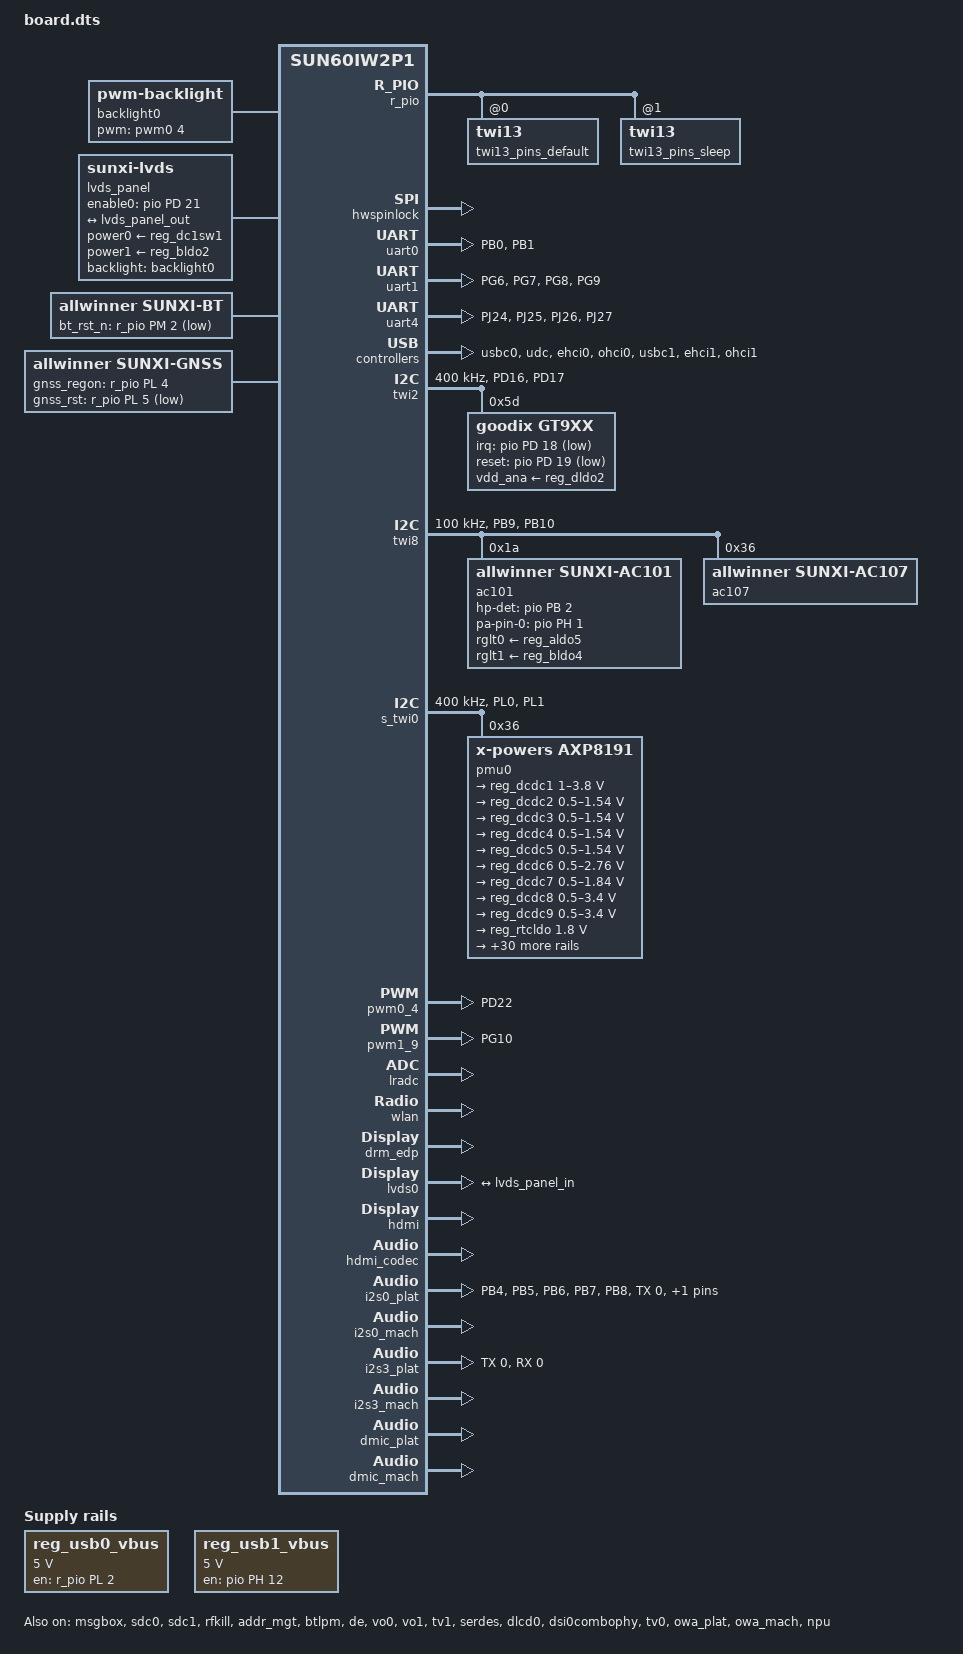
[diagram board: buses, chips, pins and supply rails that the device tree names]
// SPDX-License-Identifier: (GPL-2.0+ or MIT)

/dts-v1/;

#include "sun60iw2p1.dtsi"

/{
	board = "A733", "A733-EVB-QA";
	compatible = "allwinner,a733", "arm,sun60iw2p1";
	aliases {
		standby_param = &standby_param;
		arisc-config = &arisc_config;
		pmu0 = &pmu0;
	};

	standby_param: standby_param {
		vcc-io  = <0x00000000400>;
		vcc-efuse = <0x0000e000000>;
		vdd-cpub = <0x00000004>;
		vdd-cpu = <0x000000010>;
		vdd-sys = <0x00000002>;
		vcc-pll = <0x00001000000>;
		osc24m-on = <0>;
	};

	arisc_config: arisc_config {
		s_uart_config{
			pins = "PL2", "PL3";
			function = <3>, <3>;
			status = "disabled";
		};
	};

	reg_usb0_vbus: usb0-vbus {
		compatible = "regulator-fixed";
		regulator-name = "usb0-vbus";
		regulator-min-microvolt = <5000000>;
		regulator-max-microvolt = <5000000>;
		regulator-enable-ramp-delay = <1000>;
		gpio = <&r_pio PL 2 GPIO_ACTIVE_HIGH>;
		enable-active-high;
	};

	reg_usb1_vbus: usb1-vbus {
		compatible = "regulator-fixed";
		regulator-name = "usb1-vbus";
		regulator-min-microvolt = <5000000>;
		regulator-max-microvolt = <5000000>;
		regulator-enable-ramp-delay = <1000>;
		gpio = <&pio PH 12 GPIO_ACTIVE_HIGH>;
		enable-active-high;
	};

	backlight0: backlight0 {
		compatible = "pwm-backlight";
		status = "okay";
		brightness-levels = <
			  0   1   2   3   4   5   6   7
			  8   9  10  11  12  13  14  15
			 16  17  18  19  20  21  22  23
			 24  25  26  27  28  29  30  31
			 32  33  34  35  36  37  38  39
			 40  41  42  43  44  45  46  47
			 48  49  50  51  52  53  54  55
			 56  57  58  59  60  61  62  63
			 64  65  66  67  68  69  70  71
			 72  73  74  75  76  77  78  79
			 80  81  82  83  84  85  86  87
			 88  89  90  91  92  93  94  95
			 96  97  98  99 100 101 102 103
			104 105 106 107 108 109 110 111
			112 113 114 115 116 117 118 119
			120 121 122 123 124 125 126 127
			128 129 130 131 132 133 134 135
			136 137 138 139 140 141 142 143
			144 145 146 147 148 149 150 151
			152 153 154 155 156 157 158 159
			160 161 162 163 164 165 166 167
			168 169 170 171 172 173 174 175
			176 177 178 179 180 181 182 183
			184 185 186 187 188 189 190 191
			192 193 194 195 196 197 198 199
			200 201 202 203 204 205 206 207
			208 209 210 211 212 213 214 215
			216 217 218 219 220 221 222 223
			224 225 226 227 228 229 230 231
			232 233 234 235 236 237 238 239
			240 241 242 243 244 245 246 247
			248 249 250 251 252 253 254 255>;
		default-brightness-level = <73>;
		pwms = <&pwm0 4 25000 0>;
	};

	lvds_panel: lvds_panel@0 {
		compatible = "sunxi-lvds";
		status = "okay";
		power-delay-ms = <10>;
		power0-supply = <&reg_dc1sw1>;
		power1-supply = <&reg_bldo2>;
		backlight = <&backlight0>;
		bus-format = <MEDIA_BUS_FMT_RGB888_1X7X4_SPWG>;
		enable0-gpios = <&pio PD 21 GPIO_ACTIVE_HIGH>;
		display-timings {
			native-mode = <&lvds0_timing0>;
			lvds0_timing0: timing0 {
				clock-frequency = <74871600>;
				hback-porch = <70>;
				hactive = <1280>;
				hfront-porch = <83>;
				hsync-len = <18>;
				vback-porch = <13>;
				vactive = <800>;
				vfront-porch = <37>;
				vsync-len = <10>;
			};
		};
		port {
			lvds_panel_in: endpoint {
				remote-endpoint = <&lvds_panel_out>;
			};
		};
	};
};

&ccu {
	clk-init-gate = <1>;
};

&pio {
	uart0_pins_active: uart0_pins@0 {
		pins = "PB0", "PB1";
		function = "uart0";
		drive-strength = <10>;
	};

	uart0_pins_sleep: uart0_pins@1 {
		pins = "PB0", "PB1";
		function = "gpio_in";
		drive-strength = <10>;
	};

	uart1_pins_active: uart1_pins@0 {
		pins = "PG6", "PG7", "PG8", "PG9";
		function = "uart1";
		drive-strength = <10>;
	};

	uart1_pins_sleep: uart1_pins@1 {
		pins = "PG6", "PG7", "PG8", "PG9";
		function = "io_disabled";
		drive-strength = <10>;
	};

	uart2_pins_active: uart2_pins@0 {
		pins = "PB0", "PB1", "PB2", "PB3";
		function = "uart2";
		drive-strength = <10>;
	};

	uart2_pins_sleep: uart2_pins@1 {
		pins = "PB0", "PB1", "PB2", "PB3";
		function = "io_disabled";
		drive-strength = <10>;
	};

	uart3_pins_active: uart3_pins@0 {
		pins = "PH4", "PH5", "PH6", "PH7";
		function = "uart3";
		drive-strength = <10>;
	};

	uart3_pins_sleep: uart3_pins@1 {
		pins = "PH4", "PH5", "PH6", "PH7";
		function = "io_disabled";
		drive-strength = <10>;
	};

	uart4_pins_active: uart4_pins@0 {
		pins = "PJ24", "PJ25", "PJ26", "PJ27";
		function = "uart4";
		drive-strength = <10>;
	};

	uart4_pins_sleep: uart4_pins@1 {
		pins = "PJ24", "PJ25", "PJ26", "PJ27";
		function = "io_disabled";
		drive-strength = <10>;
	};

	uart5_pins_active: uart5_pins@0 {
		pins = "PH13", "PH14", "PH15", "PH16";
		function = "uart5";
		drive-strength = <10>;
	};

	uart5_pins_sleep: uart5_pins@1 {
		pins = "PH13", "PH14", "PH15", "PH16";
		function = "io_disabled";
		drive-strength = <10>;
	};

	uart6_pins_active: uart6_pins@0 {
		pins = "PK0", "PK1", "PK2", "PK3";
		function = "uart6";
		drive-strength = <10>;
	};

	uart6_pins_sleep: uart6_pins@1 {
		pins = "PK0", "PK1", "PK2", "PK3";
		function = "io_disabled";
		drive-strength = <10>;
	};

	uart7_pins_active: uart7_pins@0 {
		pins = "PL10", "PL11";
		function = "uart7";
		drive-strength = <10>;
	};

	uart7_pins_sleep: uart7_pins@1 {
		pins = "PL10", "PL11";
		function = "io_disabled";
		drive-strength = <10>;
	};

	uart8_pins_active: uart8_pins@0 {
		pins = "PL2", "PL3";
		function = "uart8";
		drive-strength = <10>;
	};

	uart8_pins_sleep: uart8_pins@1 {
		pins = "PL2", "PL3";
		function = "io_disabled";
		drive-strength = <10>;
	};

	twi0_pins_default: twi0@0 {
		pins = "PH0", "PH1";
		function = "twi0";
		drive-strength = <10>;
		bias-pull-up;
	};

	twi0_pins_sleep: twi0@1 {
		pins = "PH0", "PH1";
		function = "gpio_in";
	};

	twi1_pins_default: twi1@0 {
		pins = "PH2", "PH3";
		function = "twi1";
		drive-strength = <10>;
		bias-pull-up;
	};

	twi1_pins_sleep: twi1@1 {
		pins = "PH2", "PH3";
		function = "gpio_in";
	};

	twi2_pins_default: twi2@0 {
		pins = "PD16", "PD17";
		function = "twi2";
		drive-strength = <10>;
		bias-pull-up;
	};

	twi2_pins_sleep: twi2@1 {
		pins = "PD16", "PD17";
		function = "gpio_in";
	};

	twi8_pins_default: twi8@0 {
		pins = "PB9", "PB10";
		function = "twi8";
		drive-strength = <10>;
		bias-pull-up;
	};

	twi8_pins_sleep: twi8@1 {
		pins = "PB9", "PB10";
		function = "gpio_in";
	};

	pwm0_4_pins_active: pwm0@0 {
		pins = "PD22";
		function = "pwm0_4";
	};

	pwm0_4_pins_sleep: pwm0@1 {
		pins = "PD22";
		function = "gpio_in";
		bias-pull-down;
	};

	pwm1_9_pins_active: pwm1@0 {
		pins = "PG10";
		function = "pwm1_9";
	};

	pwm1_9_pins_sleep: pwm1@1 {
		pins = "PG10";
		function = "gpio_in";
		bias-pull-down;
	};

	gmac0_pins_default: gmac0@0 {
		pins = "PH0", "PH1", "PH2", "PH3",
			"PH4", "PH5", "PH6", "PH7",
			"PH8", "PH9", "PH10", "PH11",
			"PH12","PH13", "PH14", "PH15";
		function = "rgmii0";
		drive-strength = <40>;
		bias-pull-up;
	};

	gmac0_pins_sleep: gmac0@1 {
		pins = "PH0", "PH1", "PH2", "PH3",
			"PH4", "PH5", "PH6", "PH7",
			"PH8", "PH9", "PH10", "PH11",
			"PH12","PH13", "PH14", "PH15";
		function = "io_disabled";
	};

	/* i2s0 pins */
	i2s0_pins_a: i2s0@0 {
		pins = "PB4";
		function = "i2s0_mclk";
		drive-strength = <10>;
		bias-disable;
	};

	i2s0_pins_b: i2s0@1 {
		pins = "PB5";
		function = "i2s0_bclk";
		drive-strength = <10>;
		bias-disable;
	};

	i2s0_pins_c: i2s0@2 {
		pins = "PB6";
		function = "i2s0_lrck";
		drive-strength = <10>;
		bias-disable;
	};

	i2s0_pins_d: i2s0@3 {
		pins = "PB7";
		function = "i2s0_dout0";
		drive-strength = <10>;
		bias-disable;
	};

	i2s0_pins_e: i2s0@4 {
		pins = "PB8";
		function = "i2s0_din0";
		drive-strength = <10>;
		bias-disable;
	};

	i2s0_pins_f: i2s0@5 {
		pins = "PB4", "PB5", "PB6", "PB7", "PB8";
		function = "io_disabled";
		drive-strength = <10>;
		bias-disable;
	};

	owa_pins_a: owa@0 {
		pins = "PB7", "PB8";
		function = "owa";
		drive-strength = <10>;
		bias-disable;
	};

	owa_pins_b: owa@1 {
		pins = "PB7", "PB8";
		function = "io_disabled";
		drive-strength = <10>;
		bias-disable;
	};

	dmic_pins_a: dmic@0 {
		pins = "PH8", "PH9", "PH10", "PH11", "PH12";
		function = "dmic";
		drive-strength = <10>;
		bias-disable;
	};

	dmic_pins_b: dmic@1 {
		pins = "PH8", "PH9", "PH10", "PH11", "PH12";
		function = "io_disabled";
		drive-strength = <10>;
		bias-disable;
	};

	spi0_pins_default: spi0@0 {
		pins = "PC12", "PC2", "PC4"; /* clk, mosi, miso */
		function = "spi0";
		drive-strength = <10>;
	};

	spi0_pins_cs: spi0@1 {
		pins = "PC3", "PC15", "PC16"; /* cs, hold, wp */
		function = "spi0";
		drive-strength = <10>;
		bias-pull-up;
	};

	spi0_pins_sleep: spi0@2 {
		pins = "PC12", "PC2", "PC4", "PC3", "PC15", "PC16";
		function = "io_disabled";
	};
};

&r_pio {
	twi13_pins_default: twi13@0 {
		pins = "PL0", "PL1";
		function = "s_twi0";
		drive-strength = <10>;
		bias-pull-up;
	};

	twi13_pins_sleep: twi13@1 {
		pins = "PL0", "PL1";
		function = "gpio_in";
	};
};

&soc {
	auto_print@54321 {
		reg = <0x0 0x54321 0x0 0x0>;
		device_type = "auto_print";
		status = "okay";
	};
	hall_para {
		hall_name = "MH248";
		status = "disabled";
		hall_int_port = <&r_pio PL 6 GPIO_ACTIVE_LOW>;
		wakeup-source;
	};

	motor_para {
		compatible = "allwinner,sunxi-vibrator";
		motor_used = <1>;
		motor_shake = <0>;
		status = "disabled";
		motor-supply = <&reg_dldo5>;
		motor_ldo_voltage = <3300>;
	};

};

&msgbox {
	status = "okay";
};

&hwspinlock {
	status = "okay";
};

&uart0 {
	pinctrl-names = "default", "sleep";
	pinctrl-0 = <&uart0_pins_active>;
	pinctrl-1 = <&uart0_pins_sleep>;
	status = "okay";
};

&uart1 {
	pinctrl-names = "default", "sleep";
	pinctrl-0 = <&uart1_pins_active>;
	pinctrl-1 = <&uart1_pins_sleep>;
	status = "okay";
};

&uart2 {
	pinctrl-names = "default", "sleep";
	pinctrl-0 = <&uart2_pins_active>;
	pinctrl-1 = <&uart2_pins_sleep>;
	status = "disabled";
};

&uart3 {
	pinctrl-names = "default", "sleep";
	pinctrl-0 = <&uart3_pins_active>;
	pinctrl-1 = <&uart3_pins_sleep>;
	status = "disabled";
};

&uart4 {
	pinctrl-names = "default", "sleep";
	pinctrl-0 = <&uart4_pins_active>;
	pinctrl-1 = <&uart4_pins_sleep>;
	status = "okay";
};

&uart5 {
	pinctrl-names = "default", "sleep";
	pinctrl-0 = <&uart5_pins_active>;
	pinctrl-1 = <&uart5_pins_sleep>;
	status = "disabled";
};

&uart6 {
	pinctrl-names = "default", "sleep";
	pinctrl-0 = <&uart6_pins_active>;
	pinctrl-1 = <&uart6_pins_sleep>;
	status = "disabled";
};

&uart7 {
	pinctrl-names = "default", "sleep";
	pinctrl-0 = <&uart7_pins_active>;
	pinctrl-1 = <&uart7_pins_sleep>;
	status = "disabled";
};

&uart8 {
	pinctrl-names = "default", "sleep";
	pinctrl-0 = <&uart8_pins_active>;
	pinctrl-1 = <&uart8_pins_sleep>;
	status = "disabled";
};

&sdc2 {
	non-removable;
	bus-width = <8>;
	mmc-ddr-1_8v;
	mmc-hs200-1_8v;
	mmc-hs400-1_8v;
	no-sdio;
	no-sd;
	ctl-spec-caps = <0x328>;
	cap-mmc-highspeed;
	sunxi-power-save-mode;
	sunxi-dis-signal-vol-sw;
	mmc-bootpart-noacc;
	/*cap-hsq;*/
	cqe-on;
	ctl-cmdq-md = <0x2>;
	max-frequency = <200000000>;
	/*vmmc-supply = <&reg_cldo3>;*/
	/*emmc io vol 3.3v*/
	/*vqmmc-supply = <&reg_aldo1>;*/
	/*emmc io vol 1.8v*/
	/*vqmmc-supply = <&reg_cldo1>;*/
	status = "disabled";
};

&sdc0 {
	bus-width = <4>;
	cd-gpios = <&pio PF 6 (GPIO_ACTIVE_LOW | GPIO_PULL_UP)>;
	/*non-removable;*/
	/*broken-cd;*/
	/*cd-inverted*/
	/*data3-detect;*/
	/*card-pwr-gpios = <&pio PH 14 1 1 2 0xffffffff>;*/
	cd-used-24M;
	cd-set-debounce = <0x1>;
	cap-sd-highspeed;
	sd-uhs-sdr50;
	sd-uhs-ddr50;
	sd-uhs-sdr104;
	no-sdio;
	no-mmc;
	sunxi-power-save-mode;
	/*sunxi-dis-signal-vol-sw;*/
	max-frequency = <150000000>;
	ctl-spec-caps = <0x428>;
	/*vmmc-supply = <&reg_cldo3>;*/
	/*vqmmc33sw-supply = <&reg_cldo3>;*/
	/*vdmmc33sw-supply = <&reg_cldo3>;*/
	/*vqmmc18sw-supply = <&reg_cldo1>;*/
	/*vdmmc18sw-supply = <&reg_cldo1>;*/
	status = "okay";
};

&sdc1 {
	bus-width = <4>;
	no-mmc;
	no-sd;
	cap-sd-highspeed;
	/*sd-uhs-sdr12*/
	sd-uhs-sdr25;
	sd-uhs-sdr50;
	sd-uhs-ddr50;
	sd-uhs-sdr104;
	/*sunxi-power-save-mode;*/
	sunxi-dis-signal-vol-sw;
	cap-sdio-irq;
	keep-power-in-suspend;
	ignore-pm-notify;
	/*
	 * For AIC Wi-Fi SDIO3.0,
	 * when max-frequency = <208000000>, set sunxi-dly-208M = <0 0 0 0 0 0>
	 * when max-frequency = <150000000>, set sunxi-dly-208M = <1 1 0 0 1 1>
	 */
	max-frequency = <208000000>;
	sunxi-dly-208M  = <0 0 0 0 0 0>;
	ctl-spec-caps = <0x428>;
	status = "okay";
};

/*
 * usb_port_type: usb mode. 0-device, 1-host, 2-otg.
 * usb_detect_type: usb hotplug detect mode. 0-none, 1-vbus/id detect, 2-pmu detect, 3-tcpm detect.
 * usb_detect_mode: 0-thread scan, 1-id gpio interrupt, 2-pmu notify.
 * usb_id_gpio: gpio for id detect.
 * usb_det_vbus_gpio: gpio for id detect. gpio or "axp_ctrl".
 * usb_wakeup_suspend：0-SUPER_STANDBY, 1-USB_STANDBY.
 */
&usbc0 {
	device_type = "usbc0";
	usb_port_type = <0x2>;
	usb_detect_type = <0x1>;
	usb_detect_mode = <0x0>;
	usb_id_gpio = <&r_pio PL 3 GPIO_ACTIVE_HIGH>;
	enable-active-high;
	usb_det_vbus_gpio = <&r_pio PL 13 GPIO_ACTIVE_HIGH>;
	enable-active-high;
	usb_regulator_io = "nocare";
	usb_wakeup_suspend = <0>;
	usb_luns = <3>;
	usb_serial_unique = <0>;
	usb_serial_number = "20080411";
	rndis_wceis = <1>;
	status = "okay";
};

&udc {
	phy_range = <0x188>;
	status = "okay";
};

&ehci0 {
	phy_range = <0x188>;
	drvvbus-supply = <&reg_usb0_vbus>;
	status = "okay";
};

&ohci0 {
	phy_range = <0x188>;
	drvvbus-supply = <&reg_usb0_vbus>;
	status = "okay";
};

&usbc1 {
	device_type = "usbc1";
	usb_regulator_io = "nocare";
	usb_wakeup_suspend = <0>;
	status = "okay";
};

&ehci1 {
	phy_range = <0x188>;
	drvvbus-supply = <&reg_usb1_vbus>;
	status = "okay";
};

&ohci1 {
	phy_range = <0x188>;
	drvvbus-supply = <&reg_usb1_vbus>;
	status = "okay";
};

&twi0 {
	clock-frequency = <400000>;
	pinctrl-0 = <&twi0_pins_default>;
	pinctrl-1 = <&twi0_pins_sleep>;
	pinctrl-names = "default", "sleep";
	/* For stability and backwards compatibility, we recommend setting ‘twi_drv_used’ to 1 */
	twi_drv_used = <1>;
	//twi-supply = <&reg_dcdc1>;
	status = "disabled";
};

&twi1 {
	clock-frequency = <400000>;
	pinctrl-0 = <&twi1_pins_default>;
	pinctrl-1 = <&twi1_pins_sleep>;
	pinctrl-names = "default", "sleep";
	/* For stability and backwards compatibility, we recommend setting ‘twi_drv_used’ to 1 */
	twi_drv_used = <1>;
	//twi-supply = <&reg_dcdc1>;
	status = "disabled";
};

&twi2 {
	clock-frequency = <400000>;
	pinctrl-0 = <&twi2_pins_default>;
	pinctrl-1 = <&twi2_pins_sleep>;
	pinctrl-names = "default", "sleep";
	/* For stability and backwards compatibility, we recommend setting ‘twi_drv_used’ to 1 */
	twi_drv_used = <1>;
	twi-supply = <&reg_bldo2>;
	status = "okay";

	gt9xx {
		compatible = "goodix,gt9xx";
		reg = <0x5d>;
		status = "okay";
		irq-gpios = <&pio PD 18 GPIO_ACTIVE_LOW>;
		irq-flags = <2>;
		reset-gpios = <&pio PD 19 GPIO_ACTIVE_LOW>;
		vdd_ana-supply = <&reg_dldo2>;

		touchscreen-max-id = <11>;
		touchscreen-size-x = <1280>;
		touchscreen-size-y = <800>;
		touchscreen-max-w = <512>;
		touchscreen-max-p = <512>;
		//touchscreen-key-map = <172>, <158>; /*KEY_HOMEPAGE=172, KEY_BACK=158，KEY_MENU=139*/
		goodix,slide-wakeup = <0>;
		goodix,type-a-report = <1>;
		goodix,driver-send-cfg = <0>;
		goodix,send-cfg-id = <0>;
		goodix,resume-in-workqueue = <0>;
		goodix,int-sync = <1>;
		goodix,revert_x = <0>;
		goodix,revert_y = <0>;
		goodix,swap-x2y = <1>;
		goodix,tp_idle_support = <1>;
		goodix,esd-protect = <1>;
		goodix,auto-update-cfg = <0>;
		goodix,power-off-sleep = <1>;
		goodix,pen-suppress-finger = <0>;
		/* GT9271_Config_20221222_v67.cfg*/
		goodix,cfg-group0 = [
			B4 00 05 20 03 0A 3D 00 01 0A
			28 0F 50 32 03 05 00 00 00 00
			00 00 06 17 19 1F 14 8E 2E 99
			2D 2F 35 11 00 00 00 1A 03 10
			00 00 00 00 00 00 00 00 00 00
			00 32 50 94 D5 02 07 00 00 04
			8E 48 00 8A 4D 00 86 53 00 83
			59 00 80 60 00 80 00 00 00 00
			00 00 00 00 00 00 00 00 00 00
			00 00 00 00 00 00 00 00 00 00
			00 00 00 00 00 00 00 00 00 00
			00 00 00 01 04 05 06 07 08 09
			0C 0D 0E 0F 10 11 14 15 16 17
			FF FF FF FF FF FF FF FF FF FF
			FF FF 28 27 26 25 24 23 22 21
			20 1F 1E 1C 1B 19 13 12 11 10
			0F 0D 0C 0A 08 07 06 04 02 00
			FF FF FF FF FF FF FF FF FF FF
			FF FF FF FF AB 01
		];
	};
};

&twi8 {
	clock-frequency = <100000>;
	pinctrl-0 = <&twi8_pins_default>;
	pinctrl-1 = <&twi8_pins_sleep>;
	pinctrl-names = "default", "sleep";
	/* For stability and backwards compatibility, we recommend setting ‘twi_drv_used’ to 1 */
	twi_drv_used = <1>;
	twi-supply = <&reg_dc1sw2>;
	status = "okay";

	ac101: ac101@1a {
		#sound-dai-cells		= <0>;
		compatible			= "allwinner,sunxi-ac101";
		reg				= <0x1a>;
		pllclk-src			= "MCLK";
		sysclk-src			= "MCLK";
		pcm-bit-first			= "MSB";
		frame-sync-width		= <1>;

		hp-det-gpio			= <&pio PB 2 GPIO_ACTIVE_HIGH>;
		jack-det-threshold		= <1>;
		jack-key-det-threshold		= <4 10>;
		jack-det-debouce-time		= <0>;
		jack-key-det-debouce-time	= <0>;

		/* jack-key-det-voltage = <min max> */
		jack-key-det-voltage-hook	= <23 24>;
		jack-key-det-voltage-up		= <21 22>;
		jack-key-det-voltage-down	= <19 20>;
		jack-key-det-voltage-voice	= <1 1>;

		/* rglt */
		rglt-max        = <2>;
		rglt0-mode      = "PMU";
		rglt0-voltage   = <3300000>;
		rglt0-supply    = <&reg_aldo5>;

		rglt1-mode      = "PMU";
		rglt1-voltage   = <1800000>;
		rglt1-supply    = <&reg_bldo4>;

		/* pa */
		pa-pin-max	= <1>;
		pa-pin-0	= <&pio PH 1 GPIO_ACTIVE_HIGH>;
		pa-pin-level-0	= <1>;
		pa-pin-msleep-0 = <0>;

		status                  = "okay";
	};

	ac107: ac107@36 {
		#sound-dai-cells        = <0>;
		compatible              = "allwinner,sunxi-ac107";
		reg                     = <0x36>;
		pllclk-src              = "MCLK";
		sysclk-src              = "MCLK";
		pcm-bit-first           = "MSB";
		frame-sync-width        = <1>;
		tx-pin-chmap0           = <0x10101010>;
		tx-pin-chmap1           = <0x10101010>;
		ch1-dig-vol             = <160>;
		ch2-dig-vol             = <160>;
		ch1-pga-gain            = <26>;
		ch2-pga-gain            = <26>;
		codec-id		= <1>;
		status                  = "okay";
	};
};

&s_twi0 {
	clock-frequency = <400000>;
	pinctrl-0 = <&twi13_pins_default>;
	pinctrl-1 = <&twi13_pins_sleep>;
	pinctrl-names = "default", "sleep";
	/* For stability and backwards compatibility, we recommend setting ‘twi_drv_used’ to 1 */
	twi_drv_used = <1>;
	//twi-supply = <&reg_aldo1>;
	no_suspend = <1>;
	status = "okay";

	pmu1: pmu@34 {
		compatible = "x-powers,axp515";
		reg = <0x34>;
		status = "disabled";
		//interrupts = <0 IRQ_TYPE_LEVEL_LOW>;
		//interrupt-parent = <&nmi_intc>;
		x-powers,drive-vbus-en;
		pmu_irq_wakeup = <1>;
		pmu_hot_shutdown = <1>;

		//wakeup-source;

		powerkey0: powerkey@0 {
			status = "disabled";
			compatible = "x-powers,axp515-pek";
			pmu_powkey_off_time = <6000>;
			pmu_powkey_off_func = <0>;
			pmu_powkey_off_en = <1>;
			pmu_powkey_long_time = <1500>;
			pmu_powkey_on_time = <512>;
			wakeup_rising;
			wakeup_falling;
		};

		usb_power_supply: usb_power_supply {
			compatible = "x-powers,axp515-usb-power-supply";
			status = "disabled";

			pmu_usbpc_vol = <4600>;
			pmu_usbpc_cur = <500>;
			pmu_usbad_vol = <4000>;
			pmu_usbad_cur = <2500>;
			pmu_usb_typec_used = <1>;
			wakeup_usb_in;
			wakeup_usb_out;
			wakeup_typec_in;
			wakeup_typec_out;
		};

		bat_power_supply: bat-power-supply {
			compatible = "x-powers,axp515-bat-power-supply";
			status = "disabled";
			pmu_chg_ic_temp = <0>;

			pmu_battery_rdc= <170>;
			pmu_battery_cap = <5000>;
			pmu_runtime_chgcur = <1000>;
			pmu_suspend_chgcur = <1500>;
			pmu_shutdown_chgcur = <1500>;
			pmu_init_chgvol = <4350>;
			pmu_battery_warning_level1 = <15>;
			pmu_battery_warning_level2 = <0>;
			pmu_chgled_func = <0>;
			pmu_chgled_type = <0>;
			pmu_bat_para1 = <0>;
			pmu_bat_para2 = <0>;
			pmu_bat_para3 = <0>;
			pmu_bat_para4 = <0>;
			pmu_bat_para5 = <0>;
			pmu_bat_para6 = <0>;
			pmu_bat_para7 = <2>;
			pmu_bat_para8 = <3>;
			pmu_bat_para9 = <4>;
			pmu_bat_para10 = <6>;
			pmu_bat_para11 = <9>;
			pmu_bat_para12 = <14>;
			pmu_bat_para13 = <26>;
			pmu_bat_para14 = <38>;
			pmu_bat_para15 = <49>;
			pmu_bat_para16 = <52>;
			pmu_bat_para17 = <56>;
			pmu_bat_para18 = <60>;
			pmu_bat_para19 = <64>;
			pmu_bat_para20 = <70>;
			pmu_bat_para21 = <77>;
			pmu_bat_para22 = <83>;
			pmu_bat_para23 = <87>;
			pmu_bat_para24 = <90>;
			pmu_bat_para25 = <95>;
			pmu_bat_para26 = <99>;
			pmu_bat_para27 = <99>;
			pmu_bat_para28 = <100>;
			pmu_bat_para29 = <100>;
			pmu_bat_para30 = <100>;
			pmu_bat_para31 = <100>;
			pmu_bat_para32 = <100>;

			pmu_bat_temp_enable = <0>;
			pmu_jetia_en        = <0>;
			pmu_bat_charge_ltf = <1695>; //-5
			pmu_bat_charge_htf = <151>; //60
			pmu_bat_shutdown_ltf = <2125>; //-10
			pmu_bat_shutdown_htf = <131>; //65
			pmu_jetia_cool = <1361>; //0
			pmu_jetia_warm = <208>; //50
			pmu_jcool_ifall = <1>;//50%
			pmu_jwarm_ifall = <1>;//50%
			pmu_bat_temp_para1 = <4378>; //Murata -25
			pmu_bat_temp_para2 = <2682>; //-15
			pmu_bat_temp_para3 = <2125>; //-10
			pmu_bat_temp_para4 = <1695>; //-5
			pmu_bat_temp_para5 = <1361>;//0
			pmu_bat_temp_para6 = <1101>; //5
			pmu_bat_temp_para7 = <896>; //10
			pmu_bat_temp_para8 = <604>; //20
			pmu_bat_temp_para9 = <416>; //30
			pmu_bat_temp_para10 = <292>; //40
			pmu_bat_temp_para11 = <246>; //45
			pmu_bat_temp_para12 = <208>; //50
			pmu_bat_temp_para13 = <177>; //55
			pmu_bat_temp_para14 = <151>; //60
			pmu_bat_temp_para15 = <111>; //70
			pmu_bat_temp_para16 = <83>; //80

			wakeup_bat_out;
			wakeup_new_soc;
			/* wakeup_bat_in; */
			/* wakeup_bat_charging; */
			/* wakeup_bat_charge_over; */
			/* wakeup_low_warning1; */
			/* wakeup_low_warning2; */
			wakeup_bat_untemp_work;
			wakeup_bat_ovtemp_work;
			/* wakeup_bat_untemp_chg; */
			/* wakeup_bat_ovtemp_chg; */
		};

		regulator1: regulators@1 {
			compatible = "x-powers,axp515-regulator";
			reg_drivevbus: drivevbus {
				regulator-name = "axp515-drivevbus";
				regulator-enable-ramp-delay = <1000>;
			};
		};

		virtual-drivevbus {
			compatible = "xpower-vregulator,drivevbus";
			drivevbus-supply = <&reg_drivevbus>;
		};
	};

	pmu0: pmu@36 {
		compatible = "x-powers,axp8191";
		reg = <0x36>;
		status = "okay";
		//interrupts = <0 IRQ_TYPE_LEVEL_LOW>;
		//interrupt-parent = <&nmi_intc>;
		pmu_reset = <0>;
		pmu_irq_wakeup = <1>;
		pmu_hot_shutdown = <1>;

		powerkey1: powerkey@1 {
			compatible = "x-powers,axp2101-pek";
			status = "disabled";
		};

		regulator0: regulators@0 {
			reg_dcdc1: dcdc1 {
				regulator-name = "axp8191-dcdc1";
				regulator-min-microvolt = <1000000>;
				regulator-max-microvolt = <3800000>;
				regulator-enable-ramp-delay = <1000>;
				regulator-ramp-delay = <250>;
				regulator-boot-on;
				regulator-always-on;
			};
			reg_dcdc2: dcdc2 {
				regulator-name = "axp8191-dcdc2";
				regulator-min-microvolt = <500000>;
				regulator-max-microvolt = <1540000>;
				regulator-ramp-delay = <250>;
				regulator-enable-ramp-delay = <1000>;
				regulator-boot-on;
				regulator-always-on;
			};
			reg_dcdc3: dcdc3 {
				regulator-name = "axp8191-dcdc3";
				regulator-min-microvolt = <500000>;
				regulator-max-microvolt = <1540000>;
				regulator-ramp-delay = <250>;
				regulator-enable-ramp-delay = <1000>;
				regulator-boot-on;
				regulator-always-on;
			};
			reg_dcdc4: dcdc4 {
				regulator-name = "axp8191-dcdc4";
				regulator-min-microvolt = <500000>;
				regulator-max-microvolt = <1540000>;
				regulator-ramp-delay = <250>;
				regulator-enable-ramp-delay = <1000>;
				regulator-boot-on;
				regulator-always-on;
			};
			reg_dcdc5: dcdc5 {
				regulator-name = "axp8191-dcdc5";
				regulator-min-microvolt = <500000>;
				regulator-max-microvolt = <1540000>;
				regulator-ramp-delay = <250>;
				regulator-enable-ramp-delay = <1000>;
				regulator-boot-on;
				regulator-always-on;
			};
			reg_dcdc6: dcdc6 {
				regulator-name = "axp8191-dcdc6";
				regulator-min-microvolt = <500000>;
				regulator-max-microvolt = <2760000>;
				regulator-ramp-delay = <250>;
				regulator-enable-ramp-delay = <1000>;
				regulator-boot-on;
				regulator-always-on;
			};
			reg_dcdc7: dcdc7 {
				regulator-name = "axp8191-dcdc7";
				regulator-min-microvolt = <500000>;
				regulator-max-microvolt = <1840000>;
				regulator-ramp-delay = <250>;
				regulator-enable-ramp-delay = <1000>;
				regulator-boot-on;
				regulator-always-on;
			};
			reg_dcdc8: dcdc8 {
				regulator-name = "axp8191-dcdc8";
				regulator-min-microvolt = <500000>;
				regulator-max-microvolt = <3400000>;
				regulator-ramp-delay = <250>;
				regulator-enable-ramp-delay = <1000>;
				regulator-boot-on;
				regulator-always-on;
			};
			reg_dcdc9: dcdc9 {
				regulator-name = "axp8191-dcdc9";
				regulator-min-microvolt = <500000>;
				regulator-max-microvolt = <3400000>;
				regulator-ramp-delay = <250>;
				regulator-enable-ramp-delay = <1000>;
				regulator-boot-on;
				regulator-always-on;
			};
			reg_rtcldo: rtcldo {
				/* RTC_LDO is a fixed, always-on regulator */
				regulator-name = "axp8191-rtcldo";
				regulator-min-microvolt = <1800000>;
				regulator-max-microvolt = <1800000>;
				regulator-boot-on;
				regulator-always-on;
			};
			reg_aldo1: aldo1 {
				regulator-name = "axp8191-aldo1";
				regulator-min-microvolt = <500000>;
				regulator-max-microvolt = <3400000>;
				regulator-enable-ramp-delay = <1000>;
				regulator-boot-on;
				regulator-always-on;
			};
			reg_aldo2: aldo2 {
				regulator-name = "axp8191-aldo2";
				regulator-min-microvolt = <500000>;
				regulator-max-microvolt = <3400000>;
				regulator-enable-ramp-delay = <1000>;
			};
			reg_aldo3: aldo3 {
				regulator-name = "axp8191-aldo3";
				regulator-min-microvolt = <500000>;
				regulator-max-microvolt = <3400000>;
				regulator-enable-ramp-delay = <1000>;
			};
			reg_aldo4: aldo4 {
				regulator-name = "axp8191-aldo4";
				regulator-min-microvolt = <500000>;
				regulator-max-microvolt = <3400000>;
				regulator-enable-ramp-delay = <1000>;
			};
			reg_aldo5: aldo5 {
				regulator-name = "axp8191-aldo5";
				regulator-min-microvolt = <500000>;
				regulator-max-microvolt = <3400000>;
				regulator-enable-ramp-delay = <1000>;
			};
			reg_aldo6: aldo6 {
				regulator-name = "axp8191-aldo6";
				regulator-min-microvolt = <500000>;
				regulator-max-microvolt = <3400000>;
				regulator-enable-ramp-delay = <1000>;
			};
			reg_bldo1: bldo1 {
				regulator-name = "axp8191-bldo1";
				regulator-min-microvolt = <500000>;
				regulator-max-microvolt = <3400000>;
				regulator-enable-ramp-delay = <1000>;
			};
			reg_bldo2: bldo2 {
				regulator-name = "axp8191-bldo2";
				regulator-min-microvolt = <500000>;
				regulator-max-microvolt = <3400000>;
				regulator-enable-ramp-delay = <1000>;
			};
			reg_bldo3: bldo3 {
				regulator-name = "axp8191-bldo3";
				regulator-min-microvolt = <500000>;
				regulator-max-microvolt = <3400000>;
				regulator-enable-ramp-delay = <1000>;
			};
			reg_bldo4: bldo4 {
				regulator-name = "axp8191-bldo4";
				regulator-min-microvolt = <500000>;
				regulator-max-microvolt = <3400000>;
				regulator-enable-ramp-delay = <1000>;
			};
			reg_bldo5: bldo5 {
				regulator-name = "axp8191-bldo5";
				regulator-min-microvolt = <500000>;
				regulator-max-microvolt = <3400000>;
				regulator-enable-ramp-delay = <1000>;
			};
			reg_cldo1: cldo1 {
				regulator-name = "axp8191-cldo1";
				regulator-min-microvolt = <500000>;
				regulator-max-microvolt = <3500000>;
				regulator-enable-ramp-delay = <1000>;
				regulator-boot-on;
				regulator-always-on;
			};
			reg_cldo2: cldo2 {
				regulator-name = "axp8191-cldo2";
				regulator-min-microvolt = <500000>;
				regulator-max-microvolt = <3500000>;
				regulator-enable-ramp-delay = <1000>;
				regulator-boot-on;
				regulator-always-on;
			};
			reg_cldo3: cldo3 {
				regulator-name = "axp8191-cldo3";
				regulator-min-microvolt = <500000>;
				regulator-max-microvolt = <3500000>;
				regulator-enable-ramp-delay = <1000>;
				regulator-boot-on;
				regulator-always-on;
			};
			reg_cldo4: cldo4 {
				regulator-name = "axp8191-cldo4";
				regulator-min-microvolt = <500000>;
				regulator-max-microvolt = <3500000>;
				regulator-enable-ramp-delay = <1000>;
			};
			reg_cldo5: cldo5 {
				regulator-name = "axp8191-cldo5";
				regulator-min-microvolt = <500000>;
				regulator-max-microvolt = <3400000>;
				regulator-enable-ramp-delay = <1000>;
				regulator-boot-on;
				regulator-always-on;
			};
			reg_dldo1: dldo1 {
				regulator-name = "axp8191-dldo1";
				regulator-min-microvolt = <500000>;
				regulator-max-microvolt = <3400000>;
				regulator-enable-ramp-delay = <1000>;
				regulator-boot-on;
				regulator-always-on;
			};
			reg_dldo2: dldo2 {
				regulator-name = "axp8191-dldo2";
				regulator-min-microvolt = <500000>;
				regulator-max-microvolt = <3400000>;
				regulator-enable-ramp-delay = <1000>;
			};
			reg_dldo3: dldo3 {
				regulator-name = "axp8191-dldo3";
				regulator-min-microvolt = <500000>;
				regulator-max-microvolt = <3400000>;
				regulator-enable-ramp-delay = <1000>;
			};
			reg_dldo4: dldo4 {
				regulator-name = "axp8191-dldo4";
				regulator-min-microvolt = <500000>;
				regulator-max-microvolt = <3400000>;
				regulator-enable-ramp-delay = <1000>;
			};
			reg_dldo5: dldo5 {
				regulator-name = "axp8191-dldo5";
				regulator-min-microvolt = <500000>;
				regulator-max-microvolt = <3400000>;
				regulator-enable-ramp-delay = <1000>;
			};
			reg_dldo6: dldo6 {
				regulator-name = "axp8191-dldo6";
				regulator-min-microvolt = <500000>;
				regulator-max-microvolt = <3400000>;
				regulator-enable-ramp-delay = <1000>;
				regulator-boot-on;
				regulator-always-on;
			};
			reg_eldo1: eldo1 {
				regulator-name = "axp8191-eldo1";
				regulator-min-microvolt = <500000>;
				regulator-max-microvolt = <3400000>;
				regulator-enable-ramp-delay = <1000>;
			};
			reg_eldo2: eldo2 {
				regulator-name = "axp8191-eldo2";
				regulator-min-microvolt = <500000>;
				regulator-max-microvolt = <3400000>;
				regulator-enable-ramp-delay = <1000>;
				regulator-boot-on;
				regulator-always-on;
			};
			reg_eldo3: eldo3 {
				regulator-name = "axp8191-eldo3";
				regulator-min-microvolt = <500000>;
				regulator-max-microvolt = <3400000>;
				regulator-enable-ramp-delay = <1000>;
			};
			reg_eldo4: eldo4 {
				regulator-name = "axp8191-eldo4";
				regulator-min-microvolt = <500000>;
				regulator-max-microvolt = <3400000>;
				regulator-enable-ramp-delay = <1000>;
			};
			reg_eldo5: eldo5 {
				regulator-name = "axp8191-eldo5";
				regulator-min-microvolt = <500000>;
				regulator-max-microvolt = <3400000>;
				regulator-enable-ramp-delay = <1000>;
			};
			reg_eldo6: eldo6 {
				regulator-name = "axp8191-eldo6";
				regulator-min-microvolt = <500000>;
				regulator-max-microvolt = <3400000>;
				regulator-enable-ramp-delay = <1000>;
				regulator-always-on;
				regulator-boot-on;
			};
			reg_dc1sw1: dc1sw1 {
				regulator-name = "axp8191-dc1sw1";
				swin-supply = <&reg_dcdc1>;
			};
			reg_dc1sw2: dc1sw2 {
				regulator-name = "axp8191-dc1sw2";
				swin-supply = <&reg_dcdc1>;
				/* add always-on */
				regulator-always-on;
			};
		};

		virtual-dcdc1 {
			compatible = "xpower-vregulator,dcdc1";
			dcdc1-supply = <&reg_dcdc1>;
		};
		virtual-dcdc2 {
			compatible = "xpower-vregulator,dcdc2";
			dcdc2-supply = <&reg_dcdc2>;
		};
		virtual-dcdc3 {
			compatible = "xpower-vregulator,dcdc3";
			dcdc3-supply = <&reg_dcdc3>;
		};
		virtual-dcdc4 {
			compatible = "xpower-vregulator,dcdc4";
			dcdc4-supply = <&reg_dcdc4>;
		};
		virtual-dcdc5 {
			compatible = "xpower-vregulator,dcdc5";
			dcdc5-supply = <&reg_dcdc5>;
		};
		virtual-dcdc6 {
			compatible = "xpower-vregulator,dcdc6";
			dcdc6-supply = <&reg_dcdc6>;
		};
		virtual-dcdc7 {
			compatible = "xpower-vregulator,dcdc7";
			dcdc7-supply = <&reg_dcdc7>;
		};
		virtual-dcdc8 {
			compatible = "xpower-vregulator,dcdc8";
			dcdc8-supply = <&reg_dcdc8>;
		};
		virtual-dcdc9 {
			compatible = "xpower-vregulator,dcdc9";
			dcdc9-supply = <&reg_dcdc9>;
		};
		virtual-rtcldo {
			compatible = "xpower-vregulator,rtcldo";
			rtcldo-supply = <&reg_rtcldo>;
		};
		virtual-aldo1 {
			compatible = "xpower-vregulator,aldo1";
			aldo1-supply = <&reg_aldo1>;
		};
		virtual-aldo2 {
			compatible = "xpower-vregulator,aldo2";
			aldo2-supply = <&reg_aldo2>;
		};
		virtual-aldo3 {
			compatible = "xpower-vregulator,aldo3";
			aldo3-supply = <&reg_aldo3>;
		};
		virtual-aldo4 {
			compatible = "xpower-vregulator,aldo4";
			aldo4-supply = <&reg_aldo4>;
		};
		virtual-aldo5 {
			compatible = "xpower-vregulator,aldo5";
			aldo5-supply = <&reg_aldo5>;
		};
		virtual-aldo6 {
			compatible = "xpower-vregulator,aldo6";
			aldo6-supply = <&reg_aldo6>;
		};
		virtual-bldo1 {
			compatible = "xpower-vregulator,bldo1";
			bldo1-supply = <&reg_bldo1>;
		};
		virtual-bldo2 {
			compatible = "xpower-vregulator,bldo2";
			bldo2-supply = <&reg_bldo2>;
		};
		virtual-bldo3 {
			compatible = "xpower-vregulator,bldo3";
			bldo3-supply = <&reg_bldo3>;
		};
		virtual-bldo4 {
			compatible = "xpower-vregulator,bldo4";
			bldo4-supply = <&reg_bldo4>;
		};
		virtual-bldo5 {
			compatible = "xpower-vregulator,bldo5";
			bldo5-supply = <&reg_bldo5>;
		};
		virtual-cldo1 {
			compatible = "xpower-vregulator,cldo1";
			cldo1-supply = <&reg_cldo1>;
		};
		virtual-cldo2 {
			compatible = "xpower-vregulator,cldo2";
			cldo2-supply = <&reg_cldo2>;
		};
		virtual-cldo3 {
			compatible = "xpower-vregulator,cldo3";
			cldo3-supply = <&reg_cldo3>;
		};
		virtual-cldo4 {
			compatible = "xpower-vregulator,cldo4";
			cldo4-supply = <&reg_cldo4>;
		};
		virtual-cldo5 {
			compatible = "xpower-vregulator,cldo5";
			cldo5-supply = <&reg_cldo5>;
		};
		virtual-dldo1 {
			compatible = "xpower-vregulator,dldo1";
			dldo1-supply = <&reg_dldo1>;
		};
		virtual-dldo2 {
			compatible = "xpower-vregulator,dldo2";
			dldo2-supply = <&reg_dldo2>;
		};
		virtual-dldo3 {
			compatible = "xpower-vregulator,dldo3";
			dldo3-supply = <&reg_dldo3>;
		};
		virtual-dldo4 {
			compatible = "xpower-vregulator,dldo4";
			dldo4-supply = <&reg_dldo4>;
		};
		virtual-dldo5 {
			compatible = "xpower-vregulator,dldo5";
			dldo5-supply = <&reg_dldo5>;
		};
		virtual-dldo6 {
			compatible = "xpower-vregulator,dldo6";
			dldo6-supply = <&reg_dldo6>;
		};
		virtual-eldo1 {
			compatible = "xpower-vregulator,eldo1";
			eldo1-supply = <&reg_eldo1>;
		};
		virtual-eldo2 {
			compatible = "xpower-vregulator,eldo2";
			eldo2-supply = <&reg_eldo2>;
		};
		virtual-eldo3 {
			compatible = "xpower-vregulator,eldo3";
			eldo3-supply = <&reg_eldo3>;
		};
		virtual-eldo4 {
			compatible = "xpower-vregulator,eldo4";
			eldo4-supply = <&reg_eldo4>;
		};
		virtual-eldo5 {
			compatible = "xpower-vregulator,eldo5";
			eldo5-supply = <&reg_eldo5>;
		};
		virtual-eldo6 {
			compatible = "xpower-vregulator,eldo6";
			eldo6-supply = <&reg_eldo6>;
		};
		virtual-dc1sw1 {
			compatible = "xpower-vregulator,dc1sw1";
			dc1sw-supply = <&reg_dc1sw1>;
		};
		virtual-dc1sw2 {
			compatible = "xpower-vregulator,dc1sw2";
			dc1sw-supply = <&reg_dc1sw2>;
		};
	};
};

&pwm0_4 {
	pinctrl-names = "active", "sleep";
	pinctrl-0 = <&pwm0_4_pins_active>;
	pinctrl-1 = <&pwm0_4_pins_sleep>;
	status = "okay";
};

&pwm1_9 {
	pinctrl-names = "active", "sleep";
	pinctrl-0 = <&pwm1_9_pins_active>;
	pinctrl-1 = <&pwm1_9_pins_sleep>;
	status = "okay";
};

&lradc {
	key_cnt = <5>;
	key0 = <210 115>;
	key1 = <410 114>;
	key2 = <590 139>;
	key3 = <750 28>;
	key4 = <880 172>;
	status = "okay";
};

&rfkill {
	compatible = "allwinner,sunxi-rfkill";
	chip_en;
	power_en;
	pinctrl-0;
	pinctrl-names;
	status = "okay";

	/* wlan session */
	wlan {
		compatible    = "allwinner,sunxi-wlan";
		clocks;
		clock-names;
		wlan_power    = "axp8191-dcdc1", "axp8191-bldo5", "axp8191-cldo1"; /* vcc-wifi/vcc-pg/vcc-pm */
		wlan_power_vol= <3300000>, <1800000>, <1800000>;
		wlan_busnum   = <0x1>;
		wlan_regon    = <&r_pio PM 1 GPIO_ACTIVE_HIGH>;
		wlan_hostwake = <&r_pio PM 0 GPIO_ACTIVE_HIGH>;
		wakeup-source;
	};

	/* bt session */
	bt {
		compatible    = "allwinner,sunxi-bt";
		clocks;
		clock-names;
		bt_power    = "axp8191-dcdc1", "axp8191-bldo5", "axp8191-cldo1"; /* vcc-wifi/vcc-pg/vcc-pm */
		bt_power_vol= <3300000>, <1800000>, <1800000>;
		bt_rst_n      = <&r_pio PM 2 GPIO_ACTIVE_LOW>;
	};

	gnss {
		compatible    = "allwinner,sunxi-gnss";
		gnss_regon    = <&r_pio PL 4 GPIO_ACTIVE_HIGH>;
		gnss_rst      = <&r_pio PL 5 GPIO_ACTIVE_LOW>;
	};
};

&cpu0 {
	cpu-supply = <&reg_dcdc5>;
};

&dsufreq {
	dsu-supply = <&reg_dcdc5>;
};

&cpu6 {
	cpu-supply = <&reg_dcdc3>;
};

&addr_mgt {
	compatible     = "allwinner,sunxi-addr_mgt";
	type_addr_wifi = <0x0>;
	type_addr_bt   = <0x0>;
	type_addr_eth  = <0x0>;
	status         = "okay";
};

&btlpm {
	compatible  = "allwinner,sunxi-btlpm";
	uart_index  = <0x1>;
	bt_wake     = <&r_pio PM 3 GPIO_ACTIVE_HIGH>;
	bt_hostwake = <&r_pio PM 4 GPIO_ACTIVE_HIGH>;
	wakeup-source;
	status      = "okay";
};

&de {
	assigned-clock-rates = <600000000>;
	chn_cfg_mode = <2>;
	status = "okay";
};

&vo0 {
	status = "okay";
};

&vo1 {
	status = "okay";
};

&tv1 {
	status = "okay";
};

&serdes {
       status = "okay";
};

&drm_edp {
	/* lane_invert = <lane0_invert lan1_invert lan2 invert lane_invert>*/
	lane_invert = <1 1 1 1>;
	lane_remap = <2 3 0 1>;
       compatible = "allwinner,drm-dp";
       status = "okay";

       //vcc-edp-supply = <&reg_cldo5>;
       //vdd-edp-supply = <&reg_dcdc2>;
};

&dlcd0 {
	status = "okay";
};

&lvds0 {
	status = "okay";
	dual-channel = <0>;
	pinctrl-0 = <&lvds0_pins_a>;
	pinctrl-1 = <&lvds0_pins_b>;
	pinctrl-names = "active","sleep";
	ports {
		port@1 {
			reg = <1>;
			lvds_panel_out: endpoint@0 {
				reg = <0>;
				remote-endpoint = <&lvds_panel_in>;
			};
		};
	};
};

&dsi0combophy {
	status = "okay";
};

&tv0 {
	status = "okay";
};

&hdmi {
	dcdc2-supply = <&reg_dcdc2>;
	cldo2-supply = <&reg_cldo2>;
	hdmi_power0 = "dcdc2";
	hdmi_power1 = "cldo2";
	hdmi_power_cnt = <2>;

	hdmi_hdcp1x_enable = <1>;
	hdmi_hdcp2x_enable = <1>;
	hdmi_cec_enable = <0>;
	hdmi_clock_source = <0>;
	hdmi_ddc_index = <20>;

	snps_phy = <
		 25000 165000 0x0007 0x8240 0x8082
		165000 340000 0x0004 0x8240 0x80C3
		340000 600000 0x0000 0x8240 0x80F9>;

	status = "okay";
};

&gmac0_phy0 {
	compatible = "ethernet-phy-id001c.c916";
	reset-gpios = <&pio PH 16 GPIO_ACTIVE_LOW>;
};

&gmac0 {
	pinctrl-names = "default", "sleep";
	pinctrl-0 = <&gmac0_pins_default>;
	pinctrl-1 = <&gmac0_pins_sleep>;
	aw,soc-phy25m;
	tx-delay = <12>;
	rx-delay = <21>;
	dwmac3v3-supply = <&reg_dc1sw2>;
	phy3v3-supply = <&reg_dc1sw2>;
	status = "disabled";
};

&hdmi_codec {
        extcon = <&hdmi>;
        status = "okay";
};

/* audio dirver module -> I2S/PCM */
&i2s0_plat {
	tdm-num		= <0>;

	/* "tx-pin"
	 * 1. tx pin enable setting.
	 * 2. we can set it like tx_pin = <3 0> - enable tx_pin0 and tx_pin3.
	 *
	 * "rx-pin"
	 * 1. rx pin enable setting.
	 * 2. we can set it like rx_pin = <1 2> - enable rx_pin1 and rx_pin2.
	 *
	 * "tx-pin-chmap"
	 * 1. tx pin channel map setting.
	 * 2. the subscript of value corresponds to the channel number.
	 * 3. the value corresponds to slot number.
	 * 4. we can use it like tx-pin1-chmap = <1 2 ... 15> to set pin1 channel map.
	 * 5. if enabled the pin, but not set "tx-pin-chmap", default set <0 1 2 ...>.
	 * 6. if the count of value is less than 16, then missing member will be set 0.
	 *
	 * rxfifo map
	 * 1. "rxfifo-pinmap" - set the corresponding pin.
	 * 2. "rxfifo-chmap" - set the corresponding slot.
	 * 3. we can use it like rxfifo-pinmap = <0 1 2>; rxfifo-chmap = <1 2 14>; to set rxfifo map.
	 * 4. the count of value of "rxfifo-pinmap" can != the count of value of "rxfifo-pinmap",
	 *    then missing member would be set 0.
	 */
	tx-pin		= <0>;
	rx-pin		= <0>;
	/* tx-pin0-chmap = <0 1 5>; */
	/* rxfifo-pinmap = <0 0>; */
	/* rxfifo-chmap = <0 1>; */

	pinctrl-used;
	pinctrl-names	= "default","sleep";
	pinctrl-0	= <&i2s0_pins_a &i2s0_pins_b &i2s0_pins_c &i2s0_pins_d &i2s0_pins_e>;
	pinctrl-1	= <&i2s0_pins_a &i2s0_pins_b &i2s0_pins_c &i2s0_pins_d &i2s0_pins_e>;

	tx-hub-en;
	rx-sync-en;
	status		= "okay";
};

&i2s0_mach {
	soundcard-mach,format		= "i2s";
	soundcard-mach,frame-master	= <&i2s0_cpu>;
	soundcard-mach,bitclock-master	= <&i2s0_cpu>;
	/* soundcard-mach,frame-inversion; */
	/* soundcard-mach,bitclock-inversion; */
	soundcard-mach,slot-num		= <4>;
	soundcard-mach,slot-width	= <32>;
	soundcard-mach,pin-switches	= "MIC1", "MIC2",
					  "LINEINL","LINEINR",
					  "HPOUTL","HPOUTR",
					  "LINEOUTL","LINEOUTR",
					  "SPK";
	soundcard-mach,routing	= "MIC1P_PIN", "MIC1",
				  "MIC1N_PIN", "MIC1",
				  "MIC2P_PIN", "MIC2",
				  "MIC2N_PIN", "MIC2",
				  "LINEINL_PIN", "LINEINL",
				  "LINEINR_PIN", "LINEINR",
				  "LINEOUTL", "LINEOUTLP_PIN",
				  "LINEOUTL", "LINEOUTLN_PIN",
				  "LINEOUTR", "LINEOUTRP_PIN",
				  "LINEOUTR", "LINEOUTRN_PIN",
				  "SPK", "LINEOUTLP_PIN",
				  "SPK", "LINEOUTLN_PIN",
				  "SPK", "LINEOUTRP_PIN",
				  "SPK", "LINEOUTRN_PIN",
				  "HPOUTL", "HPOUTL_PIN",
				  "HPOUTR", "HPOUTR_PIN";
	soundcard-mach,jack-support	= <4>;
	status		= "okay";
	i2s0_cpu: soundcard-mach,cpu {
		sound-dai = <&i2s0_plat>;
		/* note: pll freq = 24.576M or 22.5792M * pll-fs */
		soundcard-mach,pll-fs	= <1>;
		/* note:
		 * "mclk-fs"
		 * if not defined it or equal to 0, disable mclk.
		 *
		 * "mclk-fp" (if defined "mclk-fs")
		 * 1. if not defined "mclk-fp", mclk_freq = mclk-fs * sample_rate;
		 * 2. if defined "mclk-fp" but no value, mclk_freq = mclk-fs * 11.2896M or 12.288M;
		 * 3. if defined "mclk-fp" with 2 value, like: mclk-fp = <val1 val2>;
		 *    it means: mclk_freq(44.1k fp) = mclk-fs * val1;
		 *              mclk_freq(48k fp)   = mclk-fs * val2.
		 */
		soundcard-mach,mclk-fs	= <2>;
		soundcard-mach,mclk-fp	= <11289600 12288000>;
	};
	i2s0_codec: soundcard-mach,codec {
		sound-dai               = <&ac101 &ac107>;
		soundcard-mach,pll-fs   = <1>;
	};
};


&i2s3_plat {
	tdm-num		= <3>;
	tx-pin          = <0 1 2 3>;
	tx-pin0-map0    = <0x76543210>;
	tx-pin0-map1    = <0xFEDCBA98>;
	tx-pin1-map0    = <0x76543210>;
	tx-pin1-map1    = <0xFEDCBA98>;
	tx-pin2-map0    = <0x76543210>;
	tx-pin2-map1    = <0xFEDCBA98>;
	tx-pin3-map0    = <0x76543210>;
	tx-pin3-map1    = <0xFEDCBA98>;
	rx-pin		= <0>;

	tx-hub-en;
	rx-sync-en;
	dai-type = "hdmi";
	status		= "okay";
};

&i2s3_mach {
	soundcard-mach,format		= "i2s";
	soundcard-mach,frame-master	= <&i2s3_cpu>;
	soundcard-mach,bitclock-master	= <&i2s3_cpu>;
	/* soundcard-mach,frame-inversion; */
	/* soundcard-mach,bitclock-inversion; */
	soundcard-mach,slot-num		= <2>;
	soundcard-mach,slot-width	= <32>;
	status		= "okay";
	i2s3_cpu: soundcard-mach,cpu {
		sound-dai = <&i2s3_plat>;
		soundcard-mach,pll-fs	= <1>;
		soundcard-mach,mclk-fs	= <0>;
	};
	i2s3_codec: soundcard-mach,codec {
		sound-dai               = <&hdmi_codec>;
	};
};

/* audio dirver module -> owa */
&owa_plat {
	/* pinctrl-used; */
	/* pinctrl-names	= "default","sleep"; */
	/* pinctrl-0	= <&owa_pins_a>; */
	/* pinctrl-1	= <&owa_pins_b>; */
	tx-hub-en;
	status		= "okay";
};

&owa_mach {
	status		= "okay";
	soundcard-mach,cpu {
		sound-dai = <&owa_plat>;
	};
	soundcard-mach,codec {
	};
};

/* audio dirver module -> DMIC */
&dmic_plat {
	rx-chmap	= <0x76543210>;
	data-vol	= <0xB0>;
	rxdelaytime	= <0>;
	/* pinctrl-used; */
	/* pinctrl-names	= "default","sleep"; */
	/* pinctrl-0	= <&dmic_pins_a>; */
	/* pinctrl-1	= <&dmic_pins_b>; */
	rx-sync-en;
	status		= "okay";
};

&dmic_mach {
	status		= "okay";
	soundcard-mach,cpu {
		sound-dai = <&dmic_plat>;
	};
	soundcard-mach,codec {
	};
};

&spi0 {
	pinctrl-0 = <&spi0_pins_default &spi0_pins_cs>;
	pinctrl-1 = <&spi0_pins_sleep>;
	pinctrl-names = "default", "sleep";
	sunxi,spi-bus-mode = <SUNXI_SPI_BUS_MASTER>;
	sunxi,spi-cs-mode = <SUNXI_SPI_CS_AUTO>;
	status = "disabled";

	spidev@0 {
		compatible = "rohm,dh2228fv";
		reg = <0x0>;
		spi-max-frequency = <100000000>;
		spi-rx-bus-width = <4>;
		spi-tx-bus-width = <4>;
		status = "disabled";
	};
};

&npu {
	status = "okay";
};
